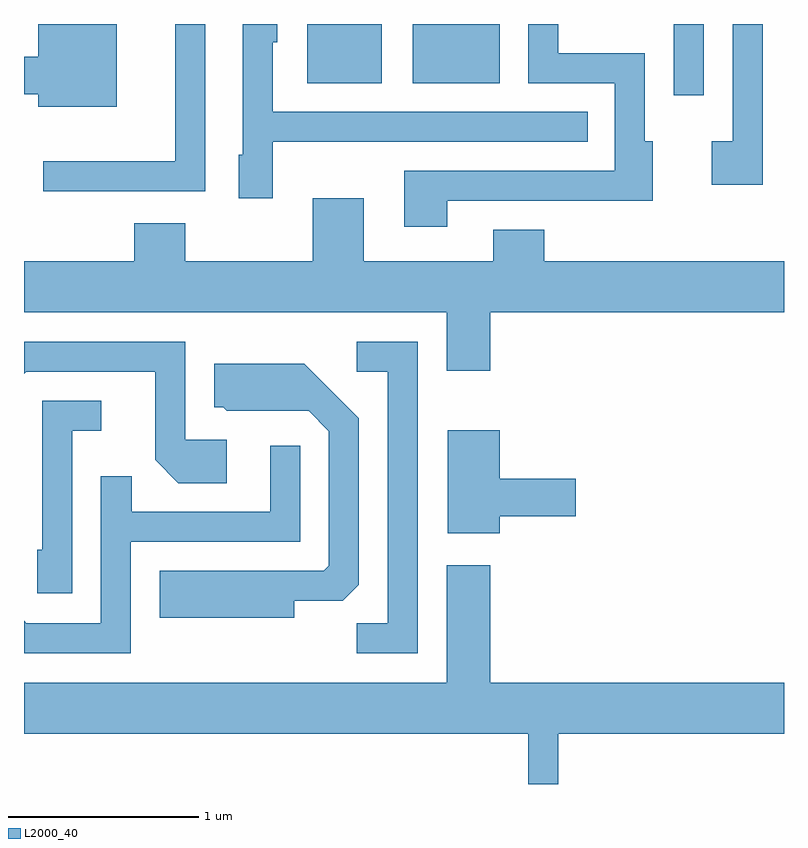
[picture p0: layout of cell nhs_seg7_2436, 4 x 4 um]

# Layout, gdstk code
import gdstk
lib = gdstk.Library(unit=1e-6, precision=1e-09)
def R(c, l, rs):  # rectangles x0, y0, x1, y1
    for r in rs: c.add(gdstk.rectangle(r[:2], r[2:], *l))
def P(c, l, *ps):  # polygons
    for p in ps: c.add(gdstk.Polygon(p, *l))
L2000_40 = (2000, 40)

nhs_seg7_2436 = lib.new_cell('nhs_seg7_2436')
R(nhs_seg7_2436, L2000_40, [(261.101,1739.941,261.494,1740.252), (261.656,1739.941,262.114,1740.252)])
P(nhs_seg7_2436, L2000_40, [(260.919,1739.631),(262.578,1739.631),(262.578,1739.789),(260.919,1739.789),(260.919,1740.156),(260.944,1740.156),(260.944,1740.252),(260.761,1740.252),(260.761,1739.564),(260.741,1739.564),(260.741,1739.336),(260.919,1739.336)],
  [(263.189,1740.252),(262.576,1740.252),(262.576,1740.251),(263.031,1740.251),(263.031,1739.878),(263.189,1739.878)],
  [(260.564,1740.252),(260.406,1740.252),(260.406,1739.529),(259.712,1739.529),(259.712,1739.371),(260.564,1739.371)],
  [(263.499,1740.252),(263.341,1740.252),(263.341,1739.634),(263.231,1739.634),(263.231,1739.406),(263.499,1739.406)],
  [(261.839,1739.321),(262.919,1739.321),(262.919,1739.634),(262.879,1739.634),(262.879,1740.099),(262.424,1740.099),(262.424,1740.252),(262.266,1740.252),(262.266,1739.941),(262.721,1739.941),(262.721,1739.479),(261.611,1739.479),(261.611,1739.186),(261.839,1739.186)],
  [(260.099,1740.252),(259.686,1740.252),(259.686,1740.079),(259.611,1740.079),(259.611,1739.881),(259.686,1739.881),(259.686,1739.816),(260.099,1739.816)],
  [(262.064,1738.736),(263.611,1738.736),(263.611,1739.004),(262.349,1739.004),(262.349,1739.169),(262.081,1739.169),(262.081,1739.004),(261.399,1739.004),(261.399,1739.334),(261.131,1739.334),(261.131,1739.004),(260.459,1739.004),(260.459,1739.204),(260.191,1739.204),(260.191,1739.004),(259.611,1739.004),(259.611,1738.736),(261.836,1738.736),(261.836,1738.426),(262.064,1738.426)],
  [(261.684,1738.579),(261.363,1738.579),(261.363,1738.421),(261.526,1738.421),(261.526,1737.099),(261.363,1737.099),(261.363,1736.941),(261.684,1736.941)],
  [(260.679,1738.064),(260.459,1738.064),(260.459,1738.579),(259.611,1738.579),(259.611,1738.41),(259.622,1738.421),(260.301,1738.421),(260.301,1737.959),(260.424,1737.836),(260.679,1737.836)],
  [(261.034,1737.216),(261.289,1737.216),(261.374,1737.302),(261.374,1738.177),(261.087,1738.464),(260.611,1738.464),(260.611,1738.236),(260.659,1738.236),(260.679,1738.216),(261.109,1738.216),(261.216,1738.109),(261.216,1737.402),(261.189,1737.374),(260.326,1737.374),(260.326,1737.126),(261.034,1737.126)],
  [(259.864,1738.111),(260.017,1738.111),(260.017,1738.269),(259.706,1738.269),(259.706,1737.484),(259.681,1737.484),(259.681,1737.256),(259.864,1737.256)],
  [(262.114,1737.661),(262.514,1737.661),(262.514,1737.859),(262.114,1737.859),(262.114,1738.114),(261.841,1738.114),(261.841,1737.571),(262.114,1737.571)],
  [(260.174,1737.526),(261.064,1737.526),(261.064,1738.033),(260.906,1738.033),(260.906,1737.684),(260.179,1737.684),(260.179,1737.873),(260.016,1737.873),(260.016,1737.099),(259.622,1737.099),(259.611,1737.11),(259.611,1736.941),(260.174,1736.941)],
  [(262.424,1736.516),(263.611,1736.516),(263.611,1736.784),(262.064,1736.784),(262.064,1737.404),(261.836,1737.404),(261.836,1736.784),(259.611,1736.784),(259.611,1736.516),(262.266,1736.516),(262.266,1736.252),(262.424,1736.252)])

lib.write_gds('nhs_seg7_2436.gds')
